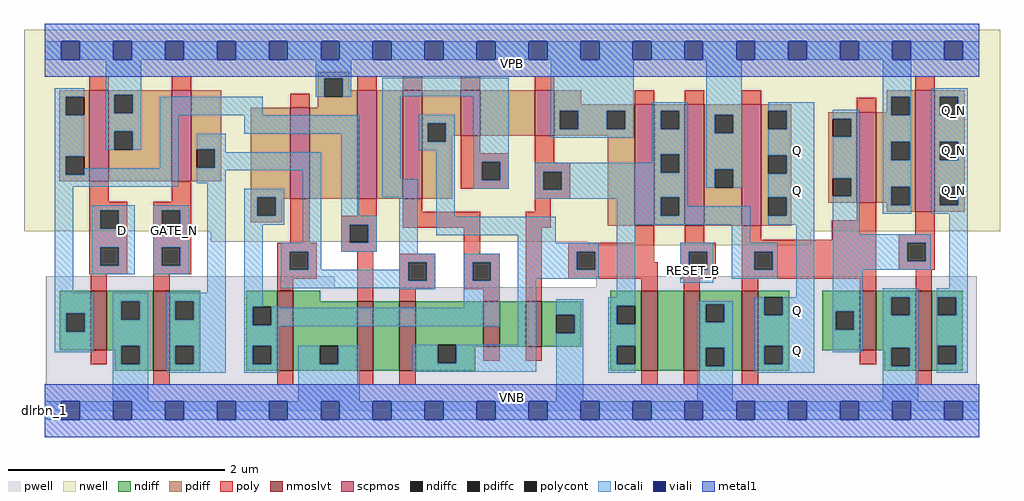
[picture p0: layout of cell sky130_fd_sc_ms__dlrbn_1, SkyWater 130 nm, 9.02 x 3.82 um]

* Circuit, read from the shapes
.subckt sky130_fd_sc_ms__dlrbn_1 D GATE_N RESET_B VGND VNB VPB VPWR Q Q_N
XM1 VGND D n1 VNB sky130_fd_pr__nfet_01v8_lvt w=0.55 l=0.15
XM2 n2 GATE_N VGND VNB sky130_fd_pr__nfet_01v8_lvt w=0.74 l=0.15
XM3 VGND n2 n3 VNB sky130_fd_pr__nfet_01v8_lvt w=0.74 l=0.15
XM4 n4 n1 VGND VNB sky130_fd_pr__nfet_01v8_lvt w=0.64 l=0.15
XM5 n5 n2 n4 VNB sky130_fd_pr__nfet_01v8_lvt w=0.64 l=0.15
XM6 n6 n3 n5 VNB sky130_fd_pr__nfet_01v8_lvt w=0.42 l=0.15
XM7 VGND n7 n6 VNB sky130_fd_pr__nfet_01v8_lvt w=0.42 l=0.15
XM8 n8 n5 n7 VNB sky130_fd_pr__nfet_01v8_lvt w=0.74 l=0.15
XM9 VGND RESET_B n8 VNB sky130_fd_pr__nfet_01v8_lvt w=0.74 l=0.15
XM10 Q n7 VGND VNB sky130_fd_pr__nfet_01v8_lvt w=0.74 l=0.15
XM11 VGND n7 n9 VNB sky130_fd_pr__nfet_01v8_lvt w=0.55 l=0.15
XM12 Q_N n9 VGND VNB sky130_fd_pr__nfet_01v8_lvt w=0.74 l=0.15
XM13 VPWR D n1 VPB sky130_fd_pr__pfet_01v8 w=0.84 l=0.18
XM14 n2 GATE_N VPWR VPB sky130_fd_pr__pfet_01v8 w=0.84 l=0.18
XM15 VPWR n2 n3 VPB sky130_fd_pr__pfet_01v8 w=0.84 l=0.18
XM16 n10 n1 VPWR VPB sky130_fd_pr__pfet_01v8 w=1 l=0.18
XM17 n5 n3 n10 VPB sky130_fd_pr__pfet_01v8 w=1 l=0.18
XM18 n11 n2 n5 VPB sky130_fd_pr__pfet_01v8 w=0.42 l=0.18
XM19 VPWR n7 n11 VPB sky130_fd_pr__pfet_01v8 w=0.42 l=0.18
XM20 n7 n5 VPWR VPB sky130_fd_pr__pfet_01v8 w=1.12 l=0.18
XM21 VPWR RESET_B n7 VPB sky130_fd_pr__pfet_01v8 w=1.12 l=0.18
XM22 Q n7 VPWR VPB sky130_fd_pr__pfet_01v8 w=1.12 l=0.18
XM23 VPWR n7 n9 VPB sky130_fd_pr__pfet_01v8 w=0.84 l=0.18
XM24 Q_N n9 VPWR VPB sky130_fd_pr__pfet_01v8 w=1.12 l=0.18
.ends

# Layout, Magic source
magic
tech sky130A
magscale 1 2
<< nwell >>
rect -38 332 1766 704
rect 307 312 1416 332
rect 1005 306 1416 312
<< pwell >>
rect 2 228 536 248
rect 1020 228 1723 248
rect 2 49 1723 228
rect 0 0 1728 49
<< scpmos >>
rect 83 424 119 592
rect 235 424 271 592
rect 454 392 490 560
rect 578 392 614 592
rect 662 392 698 592
rect 769 508 805 592
rect 906 508 942 592
rect 1091 342 1127 566
rect 1183 342 1219 566
rect 1289 342 1325 566
rect 1501 384 1537 552
rect 1609 368 1645 592
<< nmoslvt >>
rect 85 112 115 222
rect 201 74 231 222
rect 430 74 460 222
rect 578 74 608 202
rect 656 74 686 202
rect 811 118 841 202
rect 889 118 919 202
rect 1103 74 1133 222
rect 1181 74 1211 222
rect 1289 74 1319 222
rect 1507 112 1537 222
rect 1610 74 1640 222
<< ndiff >>
rect 28 180 85 222
rect 28 146 40 180
rect 74 146 85 180
rect 28 112 85 146
rect 115 202 201 222
rect 115 168 142 202
rect 176 168 201 202
rect 115 120 201 168
rect 115 112 142 120
rect 130 86 142 112
rect 176 86 201 120
rect 130 74 201 86
rect 231 202 288 222
rect 231 168 242 202
rect 276 168 288 202
rect 231 120 288 168
rect 231 86 242 120
rect 276 86 288 120
rect 231 74 288 86
rect 373 192 430 222
rect 373 158 385 192
rect 419 158 430 192
rect 373 120 430 158
rect 373 86 385 120
rect 419 86 430 120
rect 373 74 430 86
rect 460 202 510 222
rect 460 120 578 202
rect 460 86 509 120
rect 543 86 578 120
rect 460 74 578 86
rect 608 74 656 202
rect 686 122 811 202
rect 686 88 727 122
rect 761 118 811 122
rect 841 118 889 202
rect 919 177 992 202
rect 919 143 946 177
rect 980 143 992 177
rect 919 118 992 143
rect 1046 194 1103 222
rect 1046 160 1058 194
rect 1092 160 1103 194
rect 1046 120 1103 160
rect 761 88 796 118
rect 686 74 796 88
rect 1046 86 1058 120
rect 1092 86 1103 120
rect 1046 74 1103 86
rect 1133 74 1181 222
rect 1211 197 1289 222
rect 1211 163 1222 197
rect 1256 163 1289 197
rect 1211 116 1289 163
rect 1211 82 1222 116
rect 1256 82 1289 116
rect 1211 74 1289 82
rect 1319 210 1376 222
rect 1319 176 1330 210
rect 1364 176 1376 210
rect 1319 120 1376 176
rect 1319 86 1330 120
rect 1364 86 1376 120
rect 1437 184 1507 222
rect 1437 150 1462 184
rect 1496 150 1507 184
rect 1437 112 1507 150
rect 1537 210 1610 222
rect 1537 176 1565 210
rect 1599 176 1610 210
rect 1537 116 1610 176
rect 1537 112 1565 116
rect 1319 74 1376 86
rect 1552 82 1565 112
rect 1599 82 1610 116
rect 1552 74 1610 82
rect 1640 210 1697 222
rect 1640 176 1651 210
rect 1685 176 1697 210
rect 1640 120 1697 176
rect 1640 86 1651 120
rect 1685 86 1697 120
rect 1640 74 1697 86
<< pdiff >>
rect 505 614 563 626
rect 27 580 83 592
rect 27 546 39 580
rect 73 546 83 580
rect 27 470 83 546
rect 27 436 39 470
rect 73 436 83 470
rect 27 424 83 436
rect 119 584 235 592
rect 119 550 129 584
rect 163 550 235 584
rect 119 516 235 550
rect 119 482 129 516
rect 163 482 235 516
rect 119 424 235 482
rect 271 483 327 592
rect 505 580 517 614
rect 551 592 563 614
rect 551 580 578 592
rect 505 560 578 580
rect 271 449 281 483
rect 315 449 327 483
rect 271 424 327 449
rect 381 394 454 560
rect 381 360 393 394
rect 427 392 454 394
rect 490 392 578 560
rect 614 392 662 592
rect 698 531 769 592
rect 698 497 708 531
rect 742 508 769 531
rect 805 508 906 592
rect 942 566 992 592
rect 1557 580 1609 592
rect 942 554 1091 566
rect 942 520 952 554
rect 986 520 1039 554
rect 1073 520 1091 554
rect 942 508 1091 520
rect 742 497 754 508
rect 698 392 754 497
rect 427 360 439 392
rect 381 348 439 360
rect 1041 342 1091 508
rect 1127 554 1183 566
rect 1127 520 1139 554
rect 1173 520 1183 554
rect 1127 474 1183 520
rect 1127 440 1139 474
rect 1173 440 1183 474
rect 1127 394 1183 440
rect 1127 360 1139 394
rect 1173 360 1183 394
rect 1127 342 1183 360
rect 1219 547 1289 566
rect 1219 513 1239 547
rect 1273 513 1289 547
rect 1219 446 1289 513
rect 1219 412 1239 446
rect 1273 412 1289 446
rect 1219 342 1289 412
rect 1325 554 1380 566
rect 1325 520 1338 554
rect 1372 520 1380 554
rect 1557 552 1565 580
rect 1325 472 1380 520
rect 1325 438 1338 472
rect 1372 438 1380 472
rect 1325 394 1380 438
rect 1325 360 1338 394
rect 1372 360 1380 394
rect 1449 540 1501 552
rect 1449 506 1457 540
rect 1491 506 1501 540
rect 1449 430 1501 506
rect 1449 396 1457 430
rect 1491 396 1501 430
rect 1449 384 1501 396
rect 1537 546 1565 552
rect 1599 546 1609 580
rect 1537 497 1609 546
rect 1537 463 1565 497
rect 1599 463 1609 497
rect 1537 414 1609 463
rect 1537 384 1565 414
rect 1325 342 1380 360
rect 1557 380 1565 384
rect 1599 380 1609 414
rect 1557 368 1609 380
rect 1645 580 1701 592
rect 1645 546 1655 580
rect 1689 546 1701 580
rect 1645 497 1701 546
rect 1645 463 1655 497
rect 1689 463 1701 497
rect 1645 414 1701 463
rect 1645 380 1655 414
rect 1689 380 1701 414
rect 1645 368 1701 380
<< ndiffc >>
rect 40 146 74 180
rect 142 168 176 202
rect 142 86 176 120
rect 242 168 276 202
rect 242 86 276 120
rect 385 158 419 192
rect 385 86 419 120
rect 509 86 543 120
rect 727 88 761 122
rect 946 143 980 177
rect 1058 160 1092 194
rect 1058 86 1092 120
rect 1222 163 1256 197
rect 1222 82 1256 116
rect 1330 176 1364 210
rect 1330 86 1364 120
rect 1462 150 1496 184
rect 1565 176 1599 210
rect 1565 82 1599 116
rect 1651 176 1685 210
rect 1651 86 1685 120
<< pdiffc >>
rect 39 546 73 580
rect 39 436 73 470
rect 129 550 163 584
rect 129 482 163 516
rect 517 580 551 614
rect 281 449 315 483
rect 393 360 427 394
rect 708 497 742 531
rect 952 520 986 554
rect 1039 520 1073 554
rect 1139 520 1173 554
rect 1139 440 1173 474
rect 1139 360 1173 394
rect 1239 513 1273 547
rect 1239 412 1273 446
rect 1338 520 1372 554
rect 1338 438 1372 472
rect 1338 360 1372 394
rect 1457 506 1491 540
rect 1457 396 1491 430
rect 1565 546 1599 580
rect 1565 463 1599 497
rect 1565 380 1599 414
rect 1655 546 1689 580
rect 1655 463 1689 497
rect 1655 380 1689 414
<< poly >>
rect 83 592 119 618
rect 235 592 271 618
rect 454 560 490 586
rect 578 592 614 618
rect 662 592 698 618
rect 769 592 805 618
rect 906 592 942 618
rect 1609 592 1645 618
rect 83 386 119 424
rect 235 386 271 424
rect 83 370 153 386
rect 83 336 103 370
rect 137 336 153 370
rect 83 302 153 336
rect 83 268 103 302
rect 137 268 153 302
rect 83 252 153 268
rect 201 370 271 386
rect 201 336 217 370
rect 251 336 271 370
rect 1091 566 1127 592
rect 1183 566 1219 592
rect 1289 566 1325 592
rect 769 476 805 508
rect 769 460 858 476
rect 769 426 808 460
rect 842 426 858 460
rect 769 410 858 426
rect 906 458 942 508
rect 906 442 972 458
rect 906 408 922 442
rect 956 408 972 442
rect 906 392 972 408
rect 201 302 271 336
rect 454 310 490 392
rect 578 360 614 392
rect 548 344 614 360
rect 548 310 564 344
rect 598 310 614 344
rect 662 368 698 392
rect 906 368 936 392
rect 662 338 805 368
rect 201 268 217 302
rect 251 268 271 302
rect 201 252 271 268
rect 430 294 503 310
rect 548 294 614 310
rect 430 260 453 294
rect 487 260 503 294
rect 85 222 115 252
rect 201 222 231 252
rect 430 244 503 260
rect 430 222 460 244
rect 85 86 115 112
rect 578 202 608 294
rect 775 290 805 338
rect 889 338 936 368
rect 1501 552 1537 578
rect 1501 352 1537 384
rect 656 274 722 290
rect 656 240 672 274
rect 706 240 722 274
rect 656 224 722 240
rect 775 274 841 290
rect 775 240 791 274
rect 825 240 841 274
rect 775 224 841 240
rect 656 202 686 224
rect 811 202 841 224
rect 889 202 919 338
rect 1091 310 1127 342
rect 1183 310 1219 342
rect 1289 316 1325 342
rect 1455 316 1537 352
rect 1609 326 1645 368
rect 968 294 1127 310
rect 968 260 984 294
rect 1018 274 1127 294
rect 1175 294 1241 310
rect 1018 260 1133 274
rect 968 244 1133 260
rect 1175 260 1191 294
rect 1225 260 1241 294
rect 1175 244 1241 260
rect 1289 294 1537 316
rect 1289 260 1312 294
rect 1346 260 1537 294
rect 1579 310 1645 326
rect 1579 276 1595 310
rect 1629 276 1645 310
rect 1579 260 1645 276
rect 1289 244 1537 260
rect 1103 222 1133 244
rect 1181 222 1211 244
rect 1289 222 1319 244
rect 1507 222 1537 244
rect 1610 222 1640 260
rect 811 92 841 118
rect 889 92 919 118
rect 1507 86 1537 112
rect 201 48 231 74
rect 430 48 460 74
rect 578 48 608 74
rect 656 48 686 74
rect 1103 48 1133 74
rect 1181 48 1211 74
rect 1289 48 1319 74
rect 1610 48 1640 74
<< polycont >>
rect 103 336 137 370
rect 103 268 137 302
rect 217 336 251 370
rect 808 426 842 460
rect 922 408 956 442
rect 564 310 598 344
rect 217 268 251 302
rect 453 260 487 294
rect 672 240 706 274
rect 791 240 825 274
rect 984 260 1018 294
rect 1191 260 1225 294
rect 1312 260 1346 294
rect 1595 276 1629 310
<< locali >>
rect 0 649 31 683
rect 65 649 127 683
rect 161 649 223 683
rect 257 649 319 683
rect 353 649 415 683
rect 449 649 511 683
rect 545 649 607 683
rect 641 649 703 683
rect 737 649 799 683
rect 833 649 895 683
rect 929 649 991 683
rect 1025 649 1087 683
rect 1121 649 1183 683
rect 1217 649 1279 683
rect 1313 649 1375 683
rect 1409 649 1471 683
rect 1505 649 1567 683
rect 1601 649 1663 683
rect 1697 649 1728 683
rect 19 580 73 596
rect 19 546 39 580
rect 19 470 73 546
rect 113 584 179 649
rect 113 550 129 584
rect 163 550 179 584
rect 501 614 567 649
rect 501 580 517 614
rect 551 580 567 614
rect 624 581 858 615
rect 113 516 179 550
rect 113 482 129 516
rect 163 482 179 516
rect 213 546 403 580
rect 19 436 39 470
rect 213 448 247 546
rect 369 512 582 546
rect 73 436 247 448
rect 19 414 247 436
rect 281 483 335 512
rect 315 478 335 483
rect 315 449 511 478
rect 281 444 511 449
rect 281 420 335 444
rect 19 218 53 414
rect 87 370 167 380
rect 87 336 103 370
rect 137 336 167 370
rect 87 302 167 336
rect 87 268 103 302
rect 137 268 167 302
rect 87 252 167 268
rect 201 370 267 380
rect 201 336 217 370
rect 251 336 267 370
rect 201 302 267 336
rect 201 268 217 302
rect 251 268 267 302
rect 201 252 267 268
rect 301 218 335 420
rect 19 180 90 218
rect 19 146 40 180
rect 74 146 90 180
rect 19 108 90 146
rect 126 202 192 218
rect 126 168 142 202
rect 176 168 192 202
rect 126 120 192 168
rect 126 86 142 120
rect 176 86 192 120
rect 126 17 192 86
rect 226 202 335 218
rect 226 168 242 202
rect 276 168 335 202
rect 226 120 335 168
rect 226 86 242 120
rect 276 86 335 120
rect 226 70 335 86
rect 369 394 443 410
rect 369 360 393 394
rect 427 360 443 394
rect 369 344 443 360
rect 369 192 403 344
rect 477 310 511 444
rect 437 294 511 310
rect 548 360 582 512
rect 624 428 658 581
rect 692 531 758 547
rect 692 497 708 531
rect 742 497 758 531
rect 692 481 758 497
rect 624 394 690 428
rect 548 344 614 360
rect 548 310 564 344
rect 598 310 614 344
rect 548 294 614 310
rect 437 260 453 294
rect 487 260 511 294
rect 656 290 690 394
rect 724 358 758 481
rect 792 460 858 581
rect 936 554 1089 649
rect 936 520 952 554
rect 986 520 1039 554
rect 1073 520 1089 554
rect 936 504 1089 520
rect 1123 554 1189 570
rect 1123 520 1139 554
rect 1173 520 1189 554
rect 792 426 808 460
rect 842 426 858 460
rect 1123 474 1189 520
rect 1123 458 1139 474
rect 792 410 858 426
rect 906 442 1139 458
rect 906 408 922 442
rect 956 440 1139 442
rect 1173 440 1189 474
rect 956 408 1189 440
rect 1223 547 1289 649
rect 1549 580 1602 649
rect 1223 513 1239 547
rect 1273 513 1289 547
rect 1223 446 1289 513
rect 1223 412 1239 446
rect 1273 412 1289 446
rect 1338 554 1423 570
rect 1372 520 1423 554
rect 1338 472 1423 520
rect 1372 438 1423 472
rect 906 394 1189 408
rect 906 392 1139 394
rect 1058 360 1139 392
rect 1173 378 1189 394
rect 1338 394 1423 438
rect 1173 360 1304 378
rect 724 324 945 358
rect 875 310 945 324
rect 1058 344 1304 360
rect 1372 360 1423 394
rect 1338 344 1423 360
rect 875 294 1024 310
rect 656 274 722 290
rect 656 260 672 274
rect 437 240 672 260
rect 706 240 722 274
rect 437 226 722 240
rect 656 224 722 226
rect 775 274 841 290
rect 775 240 791 274
rect 825 240 841 274
rect 369 158 385 192
rect 419 190 435 192
rect 775 190 841 240
rect 419 158 841 190
rect 369 156 841 158
rect 875 260 984 294
rect 1018 260 1024 294
rect 875 244 1024 260
rect 369 120 435 156
rect 875 122 909 244
rect 1058 210 1092 344
rect 1270 310 1304 344
rect 1175 294 1236 310
rect 1175 260 1191 294
rect 1225 260 1236 294
rect 1175 236 1236 260
rect 1270 294 1355 310
rect 1270 260 1312 294
rect 1346 260 1355 294
rect 1270 244 1355 260
rect 1389 210 1423 344
rect 369 86 385 120
rect 419 86 435 120
rect 369 70 435 86
rect 469 86 509 120
rect 543 86 583 120
rect 469 17 583 86
rect 681 88 727 122
rect 761 88 909 122
rect 681 72 909 88
rect 946 177 996 206
rect 980 143 996 177
rect 946 17 996 143
rect 1042 194 1092 210
rect 1042 160 1058 194
rect 1042 120 1092 160
rect 1042 86 1058 120
rect 1042 70 1092 86
rect 1206 197 1272 202
rect 1206 163 1222 197
rect 1256 163 1272 197
rect 1206 116 1272 163
rect 1206 82 1222 116
rect 1256 82 1272 116
rect 1206 17 1272 82
rect 1313 176 1330 210
rect 1364 176 1423 210
rect 1313 120 1423 176
rect 1313 86 1330 120
rect 1364 86 1423 120
rect 1457 540 1507 556
rect 1491 506 1507 540
rect 1457 430 1507 506
rect 1491 396 1507 430
rect 1457 326 1507 396
rect 1549 546 1565 580
rect 1599 546 1602 580
rect 1549 497 1602 546
rect 1549 463 1565 497
rect 1599 463 1602 497
rect 1549 414 1602 463
rect 1549 380 1565 414
rect 1599 380 1602 414
rect 1549 364 1602 380
rect 1639 580 1706 596
rect 1639 546 1655 580
rect 1689 546 1706 580
rect 1639 497 1706 546
rect 1639 463 1655 497
rect 1689 463 1706 497
rect 1639 414 1706 463
rect 1639 380 1655 414
rect 1689 380 1706 414
rect 1639 364 1706 380
rect 1457 310 1638 326
rect 1457 276 1595 310
rect 1629 276 1638 310
rect 1457 260 1638 276
rect 1457 184 1512 260
rect 1672 226 1706 364
rect 1457 150 1462 184
rect 1496 150 1512 184
rect 1457 108 1512 150
rect 1549 210 1615 226
rect 1549 176 1565 210
rect 1599 176 1615 210
rect 1549 116 1615 176
rect 1313 70 1423 86
rect 1549 82 1565 116
rect 1599 82 1615 116
rect 1549 17 1615 82
rect 1649 210 1706 226
rect 1649 176 1651 210
rect 1685 176 1706 210
rect 1649 120 1706 176
rect 1649 86 1651 120
rect 1685 86 1706 120
rect 1649 70 1706 86
rect 0 -17 31 17
rect 65 -17 127 17
rect 161 -17 223 17
rect 257 -17 319 17
rect 353 -17 415 17
rect 449 -17 511 17
rect 545 -17 607 17
rect 641 -17 703 17
rect 737 -17 799 17
rect 833 -17 895 17
rect 929 -17 991 17
rect 1025 -17 1087 17
rect 1121 -17 1183 17
rect 1217 -17 1279 17
rect 1313 -17 1375 17
rect 1409 -17 1471 17
rect 1505 -17 1567 17
rect 1601 -17 1663 17
rect 1697 -17 1728 17
<< viali >>
rect 31 649 65 683
rect 127 649 161 683
rect 223 649 257 683
rect 319 649 353 683
rect 415 649 449 683
rect 511 649 545 683
rect 607 649 641 683
rect 703 649 737 683
rect 799 649 833 683
rect 895 649 929 683
rect 991 649 1025 683
rect 1087 649 1121 683
rect 1183 649 1217 683
rect 1279 649 1313 683
rect 1375 649 1409 683
rect 1471 649 1505 683
rect 1567 649 1601 683
rect 1663 649 1697 683
rect 31 -17 65 17
rect 127 -17 161 17
rect 223 -17 257 17
rect 319 -17 353 17
rect 415 -17 449 17
rect 511 -17 545 17
rect 607 -17 641 17
rect 703 -17 737 17
rect 799 -17 833 17
rect 895 -17 929 17
rect 991 -17 1025 17
rect 1087 -17 1121 17
rect 1183 -17 1217 17
rect 1279 -17 1313 17
rect 1375 -17 1409 17
rect 1471 -17 1505 17
rect 1567 -17 1601 17
rect 1663 -17 1697 17
<< metal1 >>
rect 0 683 1728 715
rect 0 649 31 683
rect 65 649 127 683
rect 161 649 223 683
rect 257 649 319 683
rect 353 649 415 683
rect 449 649 511 683
rect 545 649 607 683
rect 641 649 703 683
rect 737 649 799 683
rect 833 649 895 683
rect 929 649 991 683
rect 1025 649 1087 683
rect 1121 649 1183 683
rect 1217 649 1279 683
rect 1313 649 1375 683
rect 1409 649 1471 683
rect 1505 649 1567 683
rect 1601 649 1663 683
rect 1697 649 1728 683
rect 0 617 1728 649
rect 0 17 1728 49
rect 0 -17 31 17
rect 65 -17 127 17
rect 161 -17 223 17
rect 257 -17 319 17
rect 353 -17 415 17
rect 449 -17 511 17
rect 545 -17 607 17
rect 641 -17 703 17
rect 737 -17 799 17
rect 833 -17 895 17
rect 929 -17 991 17
rect 1025 -17 1087 17
rect 1121 -17 1183 17
rect 1217 -17 1279 17
rect 1313 -17 1375 17
rect 1409 -17 1471 17
rect 1505 -17 1567 17
rect 1601 -17 1663 17
rect 1697 -17 1728 17
rect 0 -49 1728 -17
<< labels >>
flabel pwell s 0 0 1728 49 0 FreeSans 200 0 0 0 VNB
port 5 nsew ground bidirectional
flabel nwell s 0 617 1728 666 0 FreeSans 200 0 0 0 VPB
port 6 nsew power bidirectional
rlabel comment s 0 0 0 0 4 dlrbn_1
flabel metal1 s 0 617 1728 666 0 FreeSans 340 0 0 0 VPWR
port 7 nsew power bidirectional
flabel metal1 s 0 0 1728 49 0 FreeSans 340 0 0 0 VGND
port 4 nsew ground bidirectional
flabel locali s 1663 390 1697 424 0 FreeSans 340 0 0 0 Q_N
port 9 nsew signal output
flabel locali s 1663 464 1697 498 0 FreeSans 340 0 0 0 Q_N
port 9 nsew signal output
flabel locali s 1663 538 1697 572 0 FreeSans 340 0 0 0 Q_N
port 9 nsew signal output
flabel locali s 1375 94 1409 128 0 FreeSans 340 0 0 0 Q
port 8 nsew signal output
flabel locali s 1375 168 1409 202 0 FreeSans 340 0 0 0 Q
port 8 nsew signal output
flabel locali s 1375 390 1409 424 0 FreeSans 340 0 0 0 Q
port 8 nsew signal output
flabel locali s 1375 464 1409 498 0 FreeSans 340 0 0 0 Q
port 8 nsew signal output
flabel locali s 223 316 257 350 0 FreeSans 340 0 0 0 GATE_N
port 2 nsew clock input
flabel locali s 1183 242 1217 276 0 FreeSans 340 0 0 0 RESET_B
port 3 nsew signal input
flabel locali s 127 316 161 350 0 FreeSans 340 0 0 0 D
port 1 nsew signal input
<< properties >>
string LEFsite unit
string LEFclass CORE
string FIXED_BBOX 0 0 1728 666
string GDS_FILE $PDKPATH/libs.ref/sky130_fd_sc_ms/gds/sky130_fd_sc_ms.gds
string LEFsymmetry X Y
string GDS_END 3275856
string GDS_START 3262630
<< end >>
